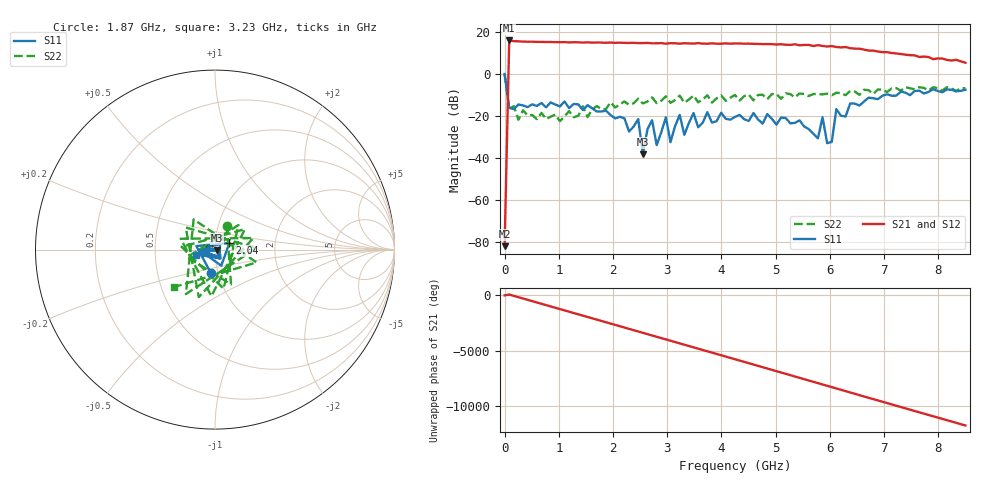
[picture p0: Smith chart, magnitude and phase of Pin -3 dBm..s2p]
! RsaToolbox (C) 2013 Rohde & Schwarz America
! Number of points: 101
! Number of ports: 2
! Balanced ports?: 0
# Hz S RI R 50
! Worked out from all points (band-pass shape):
!   101 points, 9 kHz to 8.5 GHz, reference 50 ohm
!   highest |S21| = 16.04 dB at 85.01 MHz (marker M1); lowest = -81.9 dB at 9 kHz (marker M2)
!   |S21| within 3 dB of the highest: 82.41 MHz to 6.097 GHz (6.015 GHz wide, 195 % of centre)
!   lowest |S11| = -38.2 dB at 2.55 GHz (marker M3), VSWR 1.02, Z = 51.2 - j0.342 ohm
!   |S11| at or under -10 dB: 52.96 MHz to 7.006 GHz (6.953 GHz wide, 197 % of centre); 7.104 GHz to 7.237 GHz (132.9 MHz wide, 1.85 % of centre); 7.47933 GHz to 7.480394 GHz (1.063 MHz wide, 0.0142 % of centre)
!   |S22| runs from -22.4 to 0.1 dB; largest |S21 - S12| = 0
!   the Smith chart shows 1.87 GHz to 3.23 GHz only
!   S11 on the Smith chart (normalised r, x): 1.87 GHz: 0.93, -0.25; 2.04 GHz: 1.17, +0.09; 3.23 GHz: 0.81, -0.05
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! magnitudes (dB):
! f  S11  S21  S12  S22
! 9 kHz  0.1  -81.9  -81.9  0.1
! 85.01 MHz  -16.1  16.0  16.0  -16.6
! 1.445 GHz  -17.1  15.0  15.0  -15.3
! 1.87 GHz  -17.4  14.9  14.9  -16.6
! 2.04 GHz  -21.1  14.9  14.9  -15.9
! 2.465 GHz  -21.4  14.8  14.8  -11.7
! 2.55 GHz  -38.2  14.8  14.8  -14.0
! 2.72 GHz  -22.0  14.7  14.7  -11.1
! 2.805 GHz  -33.8  14.7  14.7  -13.8
! 2.89 GHz  -27.7  14.8  14.8  -12.7
! 2.975 GHz  -20.5  14.5  14.5  -10.6
! 3.06 GHz  -32.4  14.7  14.7  -13.7
! 3.23 GHz  -19.4  14.5  14.5  -10.2
! 3.315 GHz  -28.9  14.7  14.7  -13.6
! 3.485 GHz  -18.5  14.6  14.6  -10.2
! 4.25 GHz  -20.4  14.6  14.6  -9.9
! 5.695 GHz  -28.4  13.4  13.4  -9.5
! 5.865 GHz  -20.5  13.4  13.4  -9.6
! 6.035 GHz  -32.3  13.4  13.4  -10.1
! 6.12 GHz  -16.7  12.9  12.9  -8.8
! 7.14 GHz  -10.3  10.0  10.0  -6.8
! 8.5 GHz  -7.4  5.4  5.4  -6.7
